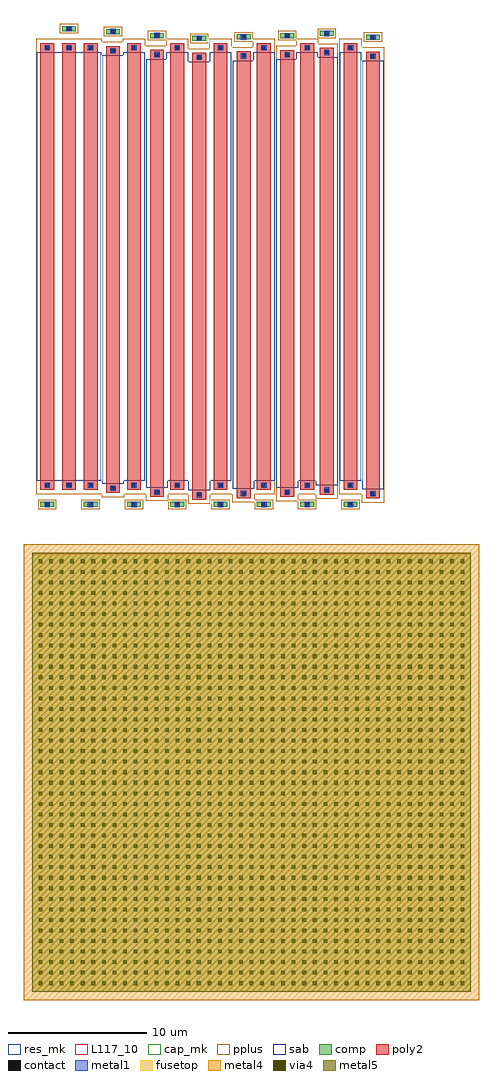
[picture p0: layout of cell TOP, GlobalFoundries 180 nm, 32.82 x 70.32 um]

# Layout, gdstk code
from math import pi, radians
import gdstk
lib = gdstk.Library(unit=1e-6, precision=1e-09)
def R(c, l, rs):  # rectangles x0, y0, x1, y1
    for r in rs: c.add(gdstk.rectangle(r[:2], r[2:], *l))
def A(c, l, x, y, w, h, nx, ny, dx, dy):  # array of equal rectangles
    R(c, l, [(x+i*dx, y+j*dy, x+i*dx+w, y+j*dy+h) for i in range(nx) for j in range(ny)])
comp = (22, 0)
poly2 = (30, 0)
pplus = (31, 0)
contact = (33, 0)
metal1 = (34, 0)
via4 = (41, 0)
metal4 = (46, 0)
sab = (49, 0)
fusetop = (75, 0)
metal5 = (81, 0)
res_mk = (110, 5)
cap_mk = (117, 5)
L117_10 = (117, 10)

ppolyf_u_resistor = lib.new_cell('ppolyf_u_resistor')
R(ppolyf_u_resistor, comp, [(-1.88,0,-1.52,1)])
R(ppolyf_u_resistor, poly2, [(-0.66,0,31.53,1)])
R(ppolyf_u_resistor, pplus, [(-0.96,-0.3,31.83,1.3), (-2.04,-0.16,-1.36,1.16)])
R(ppolyf_u_resistor, contact, [(-1.81,0.39,-1.59,0.61), (-0.44,0.39,-0.22,0.61), (31.09,0.39,31.31,0.61)])
R(ppolyf_u_resistor, metal1, [(-1.89,0.309,-1.51,0.691), (-0.52,0.309,-0.14,0.691), (31.01,0.309,31.39,0.691)])
R(ppolyf_u_resistor, sab, [(0,-0.28,30.87,1.28)])
R(ppolyf_u_resistor, res_mk, [(0,0,30.87,1)])

cap_mim = lib.new_cell('cap_mim')
A(cap_mim, via4, 0.48, 0.48, 0.26, 0.26, 41, 41, 0.76, 0.76)
R(cap_mim, metal4, [(-0.6,-0.6,32.22,32.22)])
R(cap_mim, fusetop, [(0,0,31.62,31.62)])
R(cap_mim, metal5, [(0,0,31.62,31.62)])
R(cap_mim, cap_mk, [(-0.6,-0.6,32.22,32.22)])
R(cap_mim, L117_10, [(0,0,31.62,0.1)])

ppolyf_u_resistor_3 = lib.new_cell('ppolyf_u_resistor$3')
R(ppolyf_u_resistor_3, comp, [(-1.88,0,-1.52,1)])
R(ppolyf_u_resistor_3, poly2, [(-0.66,0,31.53,1)])
R(ppolyf_u_resistor_3, pplus, [(-0.96,-0.3,31.83,1.3), (-2.04,-0.16,-1.36,1.16)])
R(ppolyf_u_resistor_3, contact, [(-1.81,0.39,-1.59,0.61), (-0.44,0.39,-0.22,0.61), (31.09,0.39,31.31,0.61)])
R(ppolyf_u_resistor_3, metal1, [(-1.89,0.309,-1.51,0.691), (-0.52,0.309,-0.14,0.691), (31.01,0.309,31.39,0.691)])
R(ppolyf_u_resistor_3, sab, [(0,-0.28,30.87,1.28)])
R(ppolyf_u_resistor_3, res_mk, [(0,0,30.87,1)])
ppolyf_u_resistor_3.add(gdstk.Label('0', (-0.33,0.5), layer=34, texttype=10))
ppolyf_u_resistor_3.add(gdstk.Label('1', (31.2,0.5), layer=34, texttype=10))
ppolyf_u_resistor_3.add(gdstk.Label('S', (-1.7,0.5), layer=34, texttype=10))

top = lib.new_cell('TOP')
top.add(gdstk.Reference(ppolyf_u_resistor, (8.82,37.76), rotation=pi/2))
top.add(gdstk.Reference(cap_mim, (32.6,32.57), rotation=pi))
top.add(gdstk.Reference(ppolyf_u_resistor, (6.31,68.42), rotation=3*pi/2))
top.add(gdstk.Reference(ppolyf_u_resistor, (15.72,68.04), rotation=3*pi/2))
top.add(gdstk.Reference(ppolyf_u_resistor, (18.18,37.76), rotation=pi/2))
top.add(gdstk.Reference(ppolyf_u_resistor, (21.3,37.76), rotation=pi/2))
top.add(gdstk.Reference(ppolyf_u_resistor, (12.52,67.94), rotation=3*pi/2))
top.add(gdstk.Reference(ppolyf_u_resistor, (2.58,37.76), rotation=pi/2))
top.add(gdstk.Reference(ppolyf_u_resistor, (11.94,37.76), rotation=pi/2))
top.add(gdstk.Reference(ppolyf_u_resistor, (9.48,68.14), rotation=3*pi/2))
top.add(gdstk.Reference(ppolyf_u_resistor, (3.14,68.63), rotation=3*pi/2))
top.add(gdstk.Reference(ppolyf_u_resistor, (18.87,68.13), rotation=3*pi/2))
top.add(gdstk.Reference(ppolyf_u_resistor, (21.71,68.29), rotation=3*pi/2))
top.add(gdstk.Reference(ppolyf_u_resistor, (15.06,37.76), rotation=pi/2))
top.add(gdstk.Reference(ppolyf_u_resistor, (24.42,37.76), rotation=pi/2))
top.add(gdstk.Reference(ppolyf_u_resistor_3, (25.04,68.02), rotation=3*pi/2))
top.add(gdstk.Reference(ppolyf_u_resistor, (5.7,37.76), rotation=pi/2))

lib.write_gds('TOP.gds')
